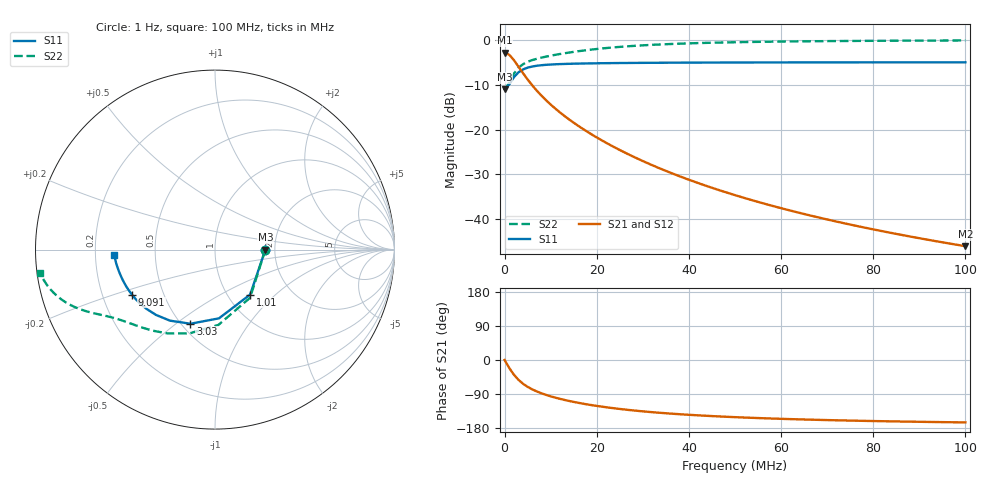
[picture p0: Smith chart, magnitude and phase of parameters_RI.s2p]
# MHz S RI R 50
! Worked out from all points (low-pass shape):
!   100 points, 1 Hz to 100 MHz, reference 50 ohm
!   highest |S21| = -2.86 dB at 1 Hz (marker M1); lowest = -46.0 dB at 100 MHz (marker M2)
!   |S21| within 3 dB of the highest: start of sweep to 2.93 MHz
!   lowest |S11| = -11.0 dB at 1 Hz (marker M3), VSWR 1.78, Z = 89 - j5.33e-05 ohm
!   |S11| at or under -10 dB: start of sweep to 966.7 kHz
!   |S22| runs from -11.0 to -0.2 dB; largest |S21 - S12| = 5.4e-11
!   S11 on the Smith chart (normalised r, x): 1 Hz: 1.78, -0.00; 1.01 MHz: 1.27, -0.71; 3.03 MHz: 0.55, -0.56; 9.091 MHz: 0.33, -0.23; 100 MHz: 0.28, -0.02
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1e-06  0.2806 -2.76e-07  0.7194 -2.71e-07  0.7194 -2.71e-07  0.2806 -2.94e-07
1.010102  0.1961 -0.2502  0.6352 -0.2451  0.6352 -0.2451  0.1953 -0.2686
2.020203  0.0224 -0.3829  0.4621 -0.3727  0.4621 -0.3727  0.0193 -0.4194
3.030304  -0.1365 -0.4131  0.3042 -0.3978  0.3042 -0.3978  -0.1435 -0.4672
4.040405  -0.2511 -0.3958  0.191 -0.3757  0.191 -0.3757  -0.2633 -0.4671
5.050506  -0.3288 -0.3639  0.1152 -0.3391  0.1152 -0.3391  -0.3473 -0.4516
6.060607  -0.3814 -0.3305  0.0647 -0.3013  0.0647 -0.3013  -0.4075 -0.4338
7.070708  -0.4179 -0.3  0.0306 -0.2666  0.0306 -0.2666  -0.4527 -0.418
9.09091  -0.4631 -0.2505  -0.00903 -0.2097  -0.00903 -0.2097  -0.5177 -0.3948
11.11111  -0.4888 -0.214  -0.0285 -0.1671  -0.0285 -0.1671  -0.5655 -0.3801
13.13131  -0.5049 -0.1867  -0.038 -0.1348  -0.038 -0.1348  -0.605 -0.3703
17.17172  -0.5236 -0.149  -0.0433 -0.0905  -0.0433 -0.0905  -0.6708 -0.3555
20.20202  -0.5318 -0.1296  -0.0421 -0.0687  -0.0421 -0.0687  -0.7122 -0.3448
24.24243  -0.5391 -0.1107  -0.0383 -0.0488  -0.0383 -0.0488  -0.7589 -0.3293
28.28283  -0.544 -0.0967  -0.0337 -0.0355  -0.0337 -0.0355  -0.7972 -0.3126
33.33333  -0.5483 -0.0835  -0.0284 -0.0247  -0.0284 -0.0247  -0.8353 -0.2912
41.41414  -0.5526 -0.0686  -0.0215 -0.0147  -0.0215 -0.0147  -0.8792 -0.2588
50.50505  -0.5555 -0.057  -0.016 -0.00885  -0.016 -0.00885  -0.9117 -0.2272
58.58586  -0.5571 -0.0496  -0.0126 -0.00596  -0.0126 -0.00596  -0.9312 -0.2036
66.66667  -0.5583 -0.0438  -0.0101 -0.00419  -0.0101 -0.00419  -0.9451 -0.1838
83.83838  -0.5597 -0.0351  -0.00673 -0.0022  -0.00673 -0.0022  -0.9638 -0.1514
100  -0.5605 -0.0296  -0.00486 -0.00133  -0.00486 -0.00133  -0.974 -0.1293
